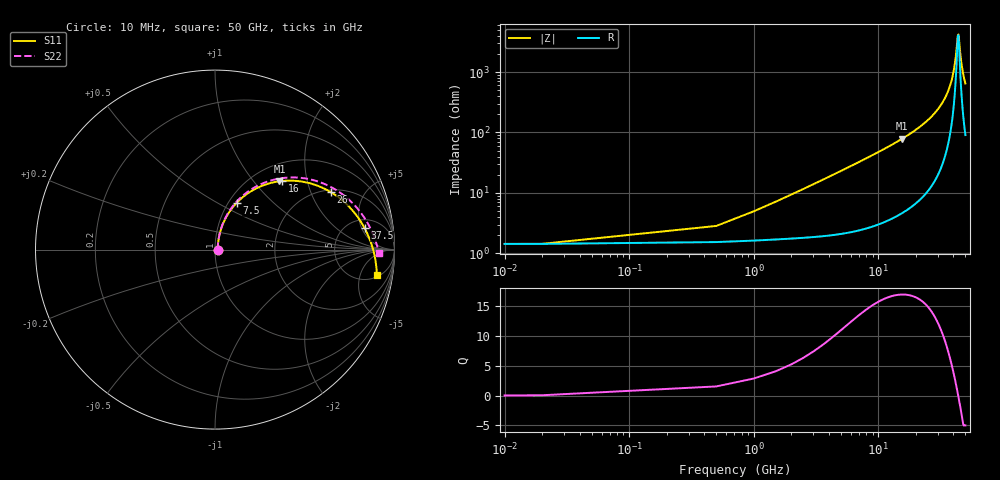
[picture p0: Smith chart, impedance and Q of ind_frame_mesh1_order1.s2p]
! Created with skrf 2.1.0 (http://scikit-rf.org).
# GHz S DB R 50.0
! Port[1] = P1
! Port[2] = P2
!freq dBS11 angS11 dBS21 angS21 dBS12 angS12 dBS22 angS22
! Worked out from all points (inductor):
!   102 points, 10 MHz to 50 GHz, reference 50 ohm
!   read as 1/Y11, port 2 shorted: L = 732 pH near 1.5 GHz
!   highest Q = 17 at 15.5 GHz (marker M1), where L = 806 pH
!   self-resonance near 43.5 GHz
!   S11 on the Smith chart (normalised r, x): 10 MHz: 1.03, +0.00; 7.5 GHz: 1.09, +0.62; 16 GHz: 1.33, +1.42; 26 GHz: 2.11, +2.81; 37.5 GHz: 6.95, +5.69; 50 GHz: 6, -10
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0.01  -37.00 1.8  -0.12 -0.0  -0.12 -0.0  -37.00 1.8
0.5  -31.82 52.7  -0.14 -1.5  -0.14 -1.5  -31.81 52.8
1  -27.20 66.2  -0.15 -2.9  -0.15 -2.9  -27.20 66.3
1.5  -24.07 71.0  -0.17 -4.4  -0.17 -4.4  -24.07 71.1
2  -21.74 72.9  -0.19 -5.8  -0.19 -5.8  -21.74 73.1
2.5  -19.89 73.6  -0.21 -7.1  -0.21 -7.1  -19.90 73.9
3.5  -17.08 73.2  -0.26 -9.9  -0.26 -9.9  -17.09 73.6
4.5  -14.98 71.6  -0.33 -12.6  -0.33 -12.6  -14.99 72.2
6  -12.62 68.6  -0.45 -16.6  -0.45 -16.6  -12.63 69.4
7.5  -10.83 65.1  -0.60 -20.5  -0.60 -20.5  -10.84 66.1
8.5  -9.86 62.8  -0.71 -23.1  -0.71 -23.1  -9.87 63.9
11.5  -7.62 55.7  -1.10 -30.4  -1.10 -30.4  -7.63 57.2
15.5  -5.62 46.7  -1.73 -39.4  -1.73 -39.4  -5.63 48.8
16  -5.42 45.6  -1.81 -40.5  -1.81 -40.5  -5.44 47.8
17  -5.06 43.5  -1.98 -42.6  -1.98 -42.6  -5.07 45.8
21  -3.87 35.4  -2.71 -50.5  -2.71 -50.5  -3.88 38.4
25.5  -2.93 27.2  -3.58 -58.6  -3.58 -58.6  -2.94 30.8
26  -2.84 26.3  -3.68 -59.4  -3.68 -59.4  -2.86 30.0
33.5  -1.85 14.1  -5.24 -71.2  -5.24 -71.2  -1.87 19.0
37.5  -1.49 8.1  -6.10 -76.9  -6.10 -76.9  -1.50 13.7
42  -1.18 1.7  -7.11 -82.9  -7.11 -82.9  -1.19 8.1
50  -0.79 -9.0  -9.04 -92.9  -9.04 -92.9  -0.79 -1.1
